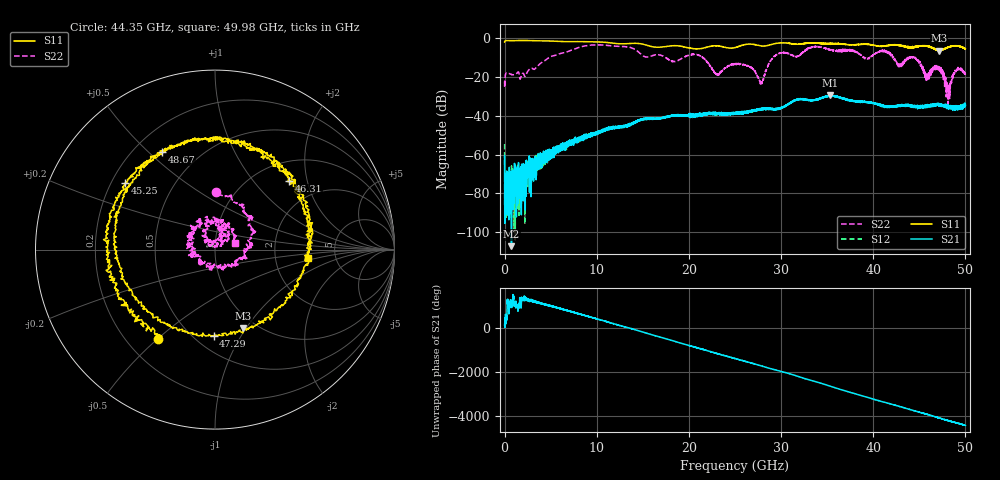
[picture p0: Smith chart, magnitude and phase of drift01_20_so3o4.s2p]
!Created with skrf (http://scikit-rf.org).
# Hz S RI R 50.0
!freq ReS11 ImS11 ReS21 ImS21 ReS12 ImS12 ReS22 ImS22
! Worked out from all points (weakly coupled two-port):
!   10001 points, 300 kHz to 50 GHz, reference 50 ohm
!   highest |S21| = -29.58 dB at 35.29 GHz (marker M1); lowest = -107.1 dB at 745.3 MHz (marker M2)
!   lowest |S11| = -6.6 dB at 47.15 GHz (marker M3), VSWR 2.75, Z = 43.3 - j48.6 ohm
!   |S11| at or under -10 dB: nowhere
!   |S22| runs from -36.6 to -3.6 dB; largest |S21 - S12| = 0.004
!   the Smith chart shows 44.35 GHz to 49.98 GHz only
!   S11 on the Smith chart (normalised r, x): 44.35 GHz: 0.33, -0.50; 45.25 GHz: 0.26, +0.31; 46.31 GHz: 1.38, +1.55; 47.29 GHz: 0.62, -0.77; 48.67 GHz: 0.31, +0.55; 49.98 GHz: 3.11, -0.41
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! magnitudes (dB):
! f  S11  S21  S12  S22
! 300 kHz  -2.1  -60.5  -54.6  -22.3
! 255.3 MHz  -1.4  -78.1  -71.8  -18.0
! 745.3 MHz  -1.5  -107.1  -76.6  -18.8
! 8.335 GHz  -1.9  -51.1  -51.3  -4.6
! 16.67 GHz  -4.8  -41.5  -41.2  -8.7
! 20.96 GHz  -5.6  -39.7  -39.4  -8.7
! 23.07 GHz  -4.1  -38.7  -39.1  -18.8
! 25 GHz  -5.0  -39.3  -38.7  -13.6
! 27.84 GHz  -4.1  -37.0  -36.7  -22.9
! 29.47 GHz  -2.9  -36.6  -36.5  -8.8
! 33.34 GHz  -2.6  -32.0  -32.1  -4.8
! 35.29 GHz  -3.1  -29.6  -29.8  -6.2
! 41.67 GHz  -3.9  -35.2  -35.6  -7.7
! 44.35 GHz  -4.6  -35.2  -35.1  -9.9
! 45.25 GHz  -4.1  -35.6  -35.3  -15.0
! 46.31 GHz  -5.0  -34.9  -34.8  -16.6
! 47.15 GHz  -6.6  -34.5  -34.9  -14.9
! 47.29 GHz  -6.4  -34.5  -34.9  -16.3
! 48.13 GHz  -4.8  -35.7  -35.5  -33.6
! 48.67 GHz  -4.2  -35.5  -35.4  -19.6
! 49.98 GHz  -5.7  -34.5  -34.7  -18.5
! 50 GHz  -5.6  -34.8  -34.6  -18.7
